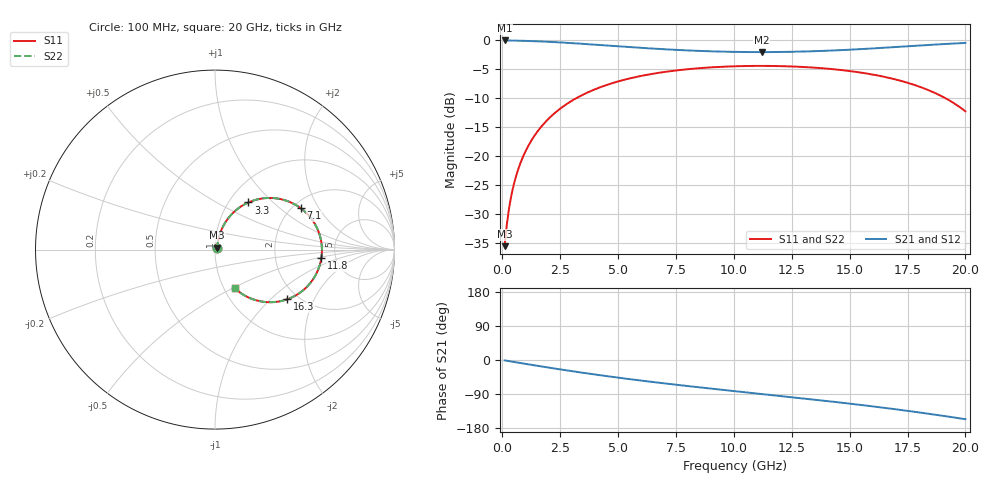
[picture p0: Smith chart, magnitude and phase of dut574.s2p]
! Touchstone file exported from HFSS 2026.1.0
!  File:  C:/ffzhzh/LocalFiles/Ansys_Project_Files/temp_train_TSV_RDL_574_1783118277_37876.aedt
!  Generated:  06:48:38 AM Jul  4, 2026
!  Design:  TSV_RDL
!  Project:  temp_train_TSV_RDL_574_1783118277_37876
! Variables:
!  h_bsmrdl = 5.78um
!  h_ox = 20um
!  h_rdl = 5um
!  h_sub = 74.94um
!  h_tmrdl = 3um
!  h_tsv = 74.94um
!  h_via = 3um
!  l_bsmrdl = 275.17um
!  l_sub = 2716.23um
!  l_tmrdl = 339.11um
!  m_sub = 200um
!  pitch = 59.85um
!  r_tsv = 5.23um
!  s_tmrdl = 10um
!  w_bsmrdl = 16.27um
!  w_sub = 500um
!  w_tmrdl = 28.49um
!  x_tsv_center1 = 353.355um
!  x_tsv_center2 = 644.795um
!  x_tsv_center3 = 1012.395um
!  x_tsv_center4 = 1303.835um
!  x_tsv_center5 = 1671.435um
!  x_tsv_center6 = 1962.875um
# GHz S MA R 50.000000
! Terminal data exported
! Port[1] = TM_RDL1_1_T1
! Port[2] = TM_RDL5_1_T1
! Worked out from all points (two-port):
!   200 points, 100 MHz to 20 GHz, reference 50 ohm
!   highest |S21| = -0.10 dB at 100 MHz (marker M1); lowest = -2.1 dB at 11.2 GHz (marker M2)
!   |S21| within 3 dB of the highest: start of sweep to end of sweep
!   lowest |S11| = -35.6 dB at 100 MHz (marker M3), VSWR 1.03, Z = 51.2 + j1.15 ohm
!   |S11| at or under -10 dB: start of sweep to 3.229 GHz; 19.1 GHz to end of sweep
!   |S22| runs from -35.6 to -4.5 dB; largest |S21 - S12| = 3.4e-14
!   S11 on the Smith chart (normalised r, x): 100 MHz: 1.02, +0.02; 3.3 GHz: 1.23, +0.72; 7.1 GHz: 2.21, +1.42; 11.8 GHz: 3.84, -0.57; 16.3 GHz: 1.76, -1.28; 20 GHz: 1.12, -0.51
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0.1  0.01653 42.9  0.988 -1.1  0.988 -1.1  0.01653 42.9
! Gamma 0 0 0 0
! Port Impedance 50 0 50 0
0.2  0.02583 59.4  0.9874 -2.1  0.9874 -2.1  0.02583 59.4
0.3  0.03598 66.1  0.9867 -3.1  0.9867 -3.1  0.03598 66.1
0.4  0.04631 69.4  0.9859 -4.1  0.9859 -4.1  0.04631 69.4
0.7  0.07757 72.5  0.9832 -7.2  0.9832 -7.2  0.07757 72.5
1  0.1088 72.2  0.9798 -10.2  0.9798 -10.2  0.1088 72.2
1.4  0.1497 70.1  0.9738 -14.2  0.9738 -14.2  0.1497 70.1
1.9  0.1989 66.4  0.9643 -19.1  0.9643 -19.1  0.1989 66.4
2.5  0.2546 61.4  0.9503 -24.8  0.9503 -24.8  0.2546 61.4
3.3  0.3219 54.7  0.9289 -32.1  0.9289 -32.1  0.3219 54.7
3.5  0.3374 53.0  0.9232 -33.9  0.9232 -33.9  0.3374 53.0
5  0.4373 41.0  0.8799 -46.6  0.8799 -46.6  0.4373 41.0
6.8  0.5209 27.7  0.8338 -60.3  0.8338 -60.3  0.5209 27.7
7.1  0.5314 25.6  0.8273 -62.4  0.8273 -62.4  0.5314 25.6
10.1  0.5918 6.0  0.7868 -82.6  0.7868 -82.6  0.5918 6.0
11.2  0.5959 -0.9  0.7839 -89.7  0.7839 -89.7  0.5959 -0.9
11.8  0.5944 -4.6  0.785 -93.6  0.785 -93.6  0.5944 -4.7
13.4  0.5768 -14.8  0.7972 -104.1  0.7972 -104.1  0.5768 -14.8
16.3  0.4884 -34.5  0.8501 -124.7  0.8501 -124.7  0.4884 -34.5
16.7  0.4695 -37.5  0.8598 -127.8  0.8598 -127.8  0.4695 -37.5
18.6  0.354 -52.0  0.9085 -143.5  0.9085 -143.5  0.354 -52.0
20  0.2416 -62.9  0.9405 -156.2  0.9405 -156.2  0.2416 -62.9
